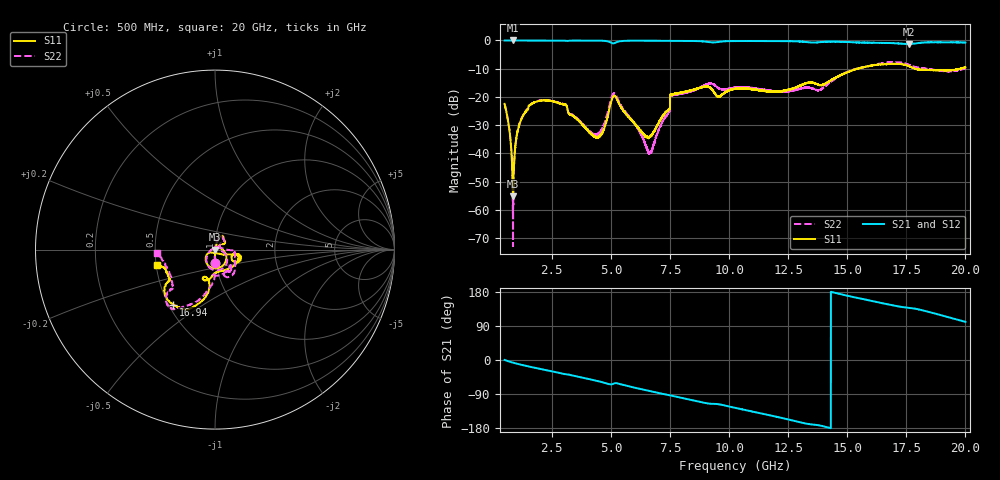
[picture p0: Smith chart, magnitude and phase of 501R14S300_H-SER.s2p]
!{501R14S300}
!Johanson Technology Inc.
!www.johansontechnology.com
!Test Board Conditions:
!Substrate Type  RO4350B
!Substrate Thickness  20 mil
!Substrate Dk  3.66
!TL Type: GCPW
!TL Trace Width  36 mil
!TL Gap  12 mil
!Electrode orientation  Horizontal
!DUT TOPOLOGY	SERIES
!Mounting Pad LxW  26x36 mil
! Created Wed Mar 11 16:06:25 2020
# mhz S ma R 50
! 2 Port Network Data from SP1.SP block
! freq  magS11  angS11  magS21  angS21  magS12  angS12  magS22  angS22
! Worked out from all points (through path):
!   19501 points, 500 MHz to 20 GHz, reference 50 ohm
!   highest |S21| = 0.00 dB at 871 MHz (marker M1); lowest = -1.3 dB at 17.6 GHz (marker M2)
!   group delay of S21, straight-line fit = 35.8 ps
!   lowest |S11| = -55.2 dB at 857 MHz (marker M3), VSWR 1.00, Z = 50.2 - j0.0412 ohm
!   |S11| at or under -10 dB: start of sweep to 15.44 GHz; 15.443 GHz to 15.44403 GHz (1.028 MHz wide, 0.00666 % of centre); 17.86 GHz to 19.79 GHz (1.936 GHz wide, 10.3 % of centre)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
!   |S22| runs from -72.9 to -7.7 dB; largest |S21 - S12| = 0.02
!   S11 on the Smith chart (normalised r, x): 500 MHz: 0.99, -0.15; 16.94 GHz: 0.53, -0.38; 20 GHz: 0.50, -0.10
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500  0.07508 -88.5  0.9955 0.3  0.9947 0.3  0.07532 -89.1
670  0.03252 -90.9  0.9985 -3.6  0.9986 -3.6  0.03228 -93.3
791  0.01055 -85.4  0.9985 -5.8  0.9984 -5.9  0.01008 -96.1
857  0.001729 -13.7  0.9984 -7.0  0.9991 -7.0  0.0002263 150.7
871  0.002578 44.0  0.9997 -7.3  0.9985 -7.3  0.002492 92.4
1113  0.03118 75.0  0.9974 -11.1  0.9978 -11.2  0.03199 80.3
1626  0.07447 69.5  0.9955 -18.5  0.9953 -18.5  0.07456 72.9
3027  0.07367 46.3  0.9901 -37.0  0.9903 -37.0  0.07468 53.1
3750  0.0342 43.7  0.9947 -46.0  0.9951 -46.0  0.03477 40.1
4527  0.02011 35.7  0.9892 -56.9  0.9894 -56.9  0.02353 0.4
5141  0.1052 -86.7  0.8945 -61.8  0.8938 -61.8  0.1165 -84.2
6614  0.01921 -92.4  0.9914 -81.5  0.9921 -81.5  0.01007 120.1
7000  0.03333 -44.0  0.9901 -86.8  0.9912 -86.8  0.02465 30.7
7598  0.1112 -14.0  0.9823 -94.5  0.9831 -94.5  0.1073 -3.7
9163  0.1479 -27.1  0.9336 -115.1  0.9342 -115.1  0.1722 -56.9
9558  0.0999 -21.9  0.9419 -116.7  0.9432 -116.6  0.1424 -70.2
10250  0.1385 -18.9  0.976 -126.2  0.9756 -126.1  0.1465 -57.2
13500  0.1799 -110.6  0.919 -170.1  0.923 -170.2  0.1425 -92.1
16750  0.3812 -124.0  0.9014 146.6  0.8921 146.2  0.4068 -125.3
16943  0.3847 -127.1  0.8943 144.2  0.8855 143.8  0.4085 -127.9
17602  0.3522 -143.1  0.8629 137.5  0.8615 137.1  0.3689 -136.8
20000  0.3352 -165.5  0.9164 100.6  0.917 100.9  0.3216 -177.0
